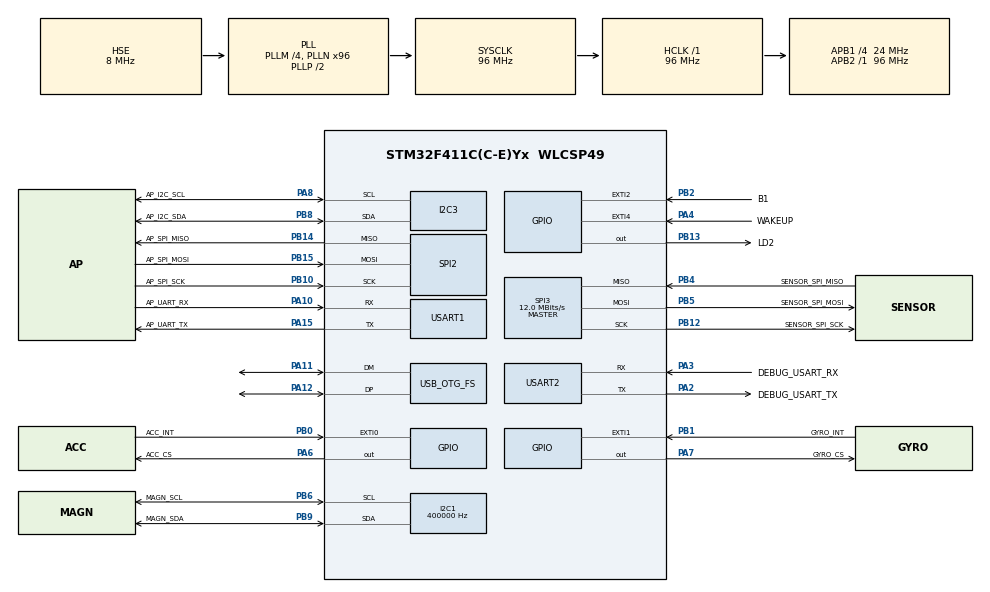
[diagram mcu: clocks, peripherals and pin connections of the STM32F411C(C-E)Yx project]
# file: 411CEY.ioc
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I2C1.ClockSpeed=400000
I2C1.I2C_Mode=I2C_Fast
I2C3.I2C_Mode=I2C_Fast
Mcu.Family=STM32F4
Mcu.Name=STM32F411C(C-E)Yx
Mcu.Package=WLCSP49
NVIC.PriorityGroup=NVIC_PRIORITYGROUP_4
PA1.GPIO_Label=AP_INT
PA1.Signal=EVENTOUT
PA10.GPIO_Label=AP_UART_RX
PA10.Mode=Asynchronous
PA10.Signal=USART1_RX
PA11.Mode=Device_Only
PA11.Signal=USB_OTG_FS_DM
PA12.Mode=Device_Only
PA12.Signal=USB_OTG_FS_DP
PA13.Mode=Trace-Asynchronous_SW
PA13.Signal=SYS_JTMS-SWDIO
PA14.Mode=Trace-Asynchronous_SW
PA14.Signal=SYS_JTCK-SWCLK
PA15.GPIO_Label=AP_UART_TX
PA15.Mode=Asynchronous
PA15.Signal=USART1_TX
PA2.GPIO_Label=DEBUG_USART_TX
PA2.Mode=Asynchronous
PA2.Signal=USART2_TX
PA3.GPIO_Label=DEBUG_USART_RX
PA3.Mode=Asynchronous
PA3.Signal=USART2_RX
PA4.GPIO_Label=WAKEUP
PA4.Signal=GPXTI4
PA6.GPIO_Label=ACC_CS
PA6.Signal=GPIO_Output
PA7.GPIO_Label=GYRO_CS
PA7.Signal=GPIO_Output
PA8.GPIO_Label=AP_I2C_SCL
PA8.Mode=I2C
PA8.Signal=I2C3_SCL
PB0.GPIO_Label=ACC_INT
PB0.Signal=GPXTI0
PB1.GPIO_Label=GYRO_INT
PB1.Signal=GPXTI1
PB10.GPIO_Label=AP_SPI_SCK
PB10.Mode=Full_Duplex_Slave
PB10.Signal=SPI2_SCK
PB12.GPIO_Label=SENSOR_SPI_SCK
PB12.Mode=Full_Duplex_Master
PB12.Signal=SPI3_SCK
PB13.GPIO_Label=LD2
PB13.Signal=GPIO_Output
PB14.GPIO_Label=AP_SPI_MISO
PB14.Mode=Full_Duplex_Slave
PB14.Signal=SPI2_MISO
PB15.GPIO_Label=AP_SPI_MOSI
PB15.Mode=Full_Duplex_Slave
PB15.Signal=SPI2_MOSI
PB2.GPIO_Label=B1
PB2.Signal=GPXTI2
PB3.Mode=Trace-Asynchronous_SW
PB3.Signal=SYS_JTDO-SWO
PB4.GPIO_Label=SENSOR_SPI_MISO
PB4.Mode=Full_Duplex_Master
PB4.Signal=SPI3_MISO
PB5.GPIO_Label=SENSOR_SPI_MOSI
PB5.Mode=Full_Duplex_Master
PB5.Signal=SPI3_MOSI
PB6.GPIO_Label=MAGN_SCL
PB6.Mode=I2C
PB6.Signal=I2C1_SCL
PB8.GPIO_Label=AP_I2C_SDA
PB8.Mode=I2C
PB8.Signal=I2C3_SDA
PB9.GPIO_Label=MAGN_SDA
PB9.Mode=I2C
PB9.Signal=I2C1_SDA
PH0\ -\ OSC_IN.Mode=HSE-External-Oscillator
PH0\ -\ OSC_IN.Signal=RCC_OSC_IN
PH1\ -\ OSC_OUT.Mode=HSE-External-Oscillator
PH1\ -\ OSC_OUT.Signal=RCC_OSC_OUT
ProjectManager.HeapSize=0x10000
ProjectManager.StackSize=0x4000
ProjectManager.TargetToolchain=EWARM
RCC.48MHZClocksFreq_Value=48000000
RCC.AHBFreq_Value=96000000
RCC.APB1CLKDivider=RCC_HCLK_DIV4
RCC.APB1Freq_Value=24000000
RCC.APB1TimCLKDivider=1
RCC.APB1TimFreq_Value=24000000
RCC.APB2Freq_Value=96000000
RCC.APB2TimFreq_Value=96000000
RCC.CortexFreq_Value=96000000
RCC.HCLKFreq_Value=96000000
RCC.HSE_VALUE=8000000
RCC.HSI_VALUE=16000000
RCC.LSE_VALUE=1000000
RCC.PLLM=4
RCC.PLLN=96
RCC.SYSCLKFreq_VALUE=96000000
RCC.SYSCLKSource=RCC_SYSCLKSOURCE_PLLCLK
RCC.VCOOutputFreq_Value=192000000
SPI2.VirtualType=VM_SLAVE
SPI3.BaudRatePrescaler=SPI_BAUDRATEPRESCALER_2
SPI3.CalculateBaudRate=12.0 MBits/s
SPI3.Mode=SPI_MODE_MASTER
USB_OTG_FS.VirtualMode=Device_Only
board=411CEY

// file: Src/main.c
/**
 ******************************************************************************
 * File Name          : main.c
 * Description        : Main program body
 ******************************************************************************
 *
 * COPYRIGHT(c) 2016 STMicroelectronics
 *
 * Redistribution and use in source and binary forms, with or without modification,
 * are permitted provided that the following conditions are met:
 *   1. Redistributions of source code must retain the above copyright notice,
 *      this list of conditions and the following disclaimer.
 *   2. Redistributions in binary form must reproduce the above copyright notice,
 *      this list of conditions and the following disclaimer in the documentation
 *      and/or other materials provided with the distribution.
 *   3. Neither the name of STMicroelectronics nor the names of its contributors
 *      may be used to endorse or promote products derived from this software
 *      without specific prior written permission.
 *
 * THIS SOFTWARE IS PROVIDED BY THE COPYRIGHT HOLDERS AND CONTRIBUTORS "AS IS"
 * AND ANY EXPRESS OR IMPLIED WARRANTIES, INCLUDING, BUT NOT LIMITED TO, THE
 * IMPLIED WARRANTIES OF MERCHANTABILITY AND FITNESS FOR A PARTICULAR PURPOSE ARE
 * DISCLAIMED. IN NO EVENT SHALL THE COPYRIGHT HOLDER OR CONTRIBUTORS BE LIABLE
 * FOR ANY DIRECT, INDIRECT, INCIDENTAL, SPECIAL, EXEMPLARY, OR CONSEQUENTIAL
 * DAMAGES (INCLUDING, BUT NOT LIMITED TO, PROCUREMENT OF SUBSTITUTE GOODS OR
 * SERVICES; LOSS OF USE, DATA, OR PROFITS; OR BUSINESS INTERRUPTION) HOWEVER
 * CAUSED AND ON ANY THEORY OF LIABILITY, WHETHER IN CONTRACT, STRICT LIABILITY,
 * OR TORT (INCLUDING NEGLIGENCE OR OTHERWISE) ARISING IN ANY WAY OUT OF THE USE
 * OF THIS SOFTWARE, EVEN IF ADVISED OF THE POSSIBILITY OF SUCH DAMAGE.
 *
 ******************************************************************************
 */
#include <string.h> /* strlen */
#include <stdio.h>  /* sprintf */
#include <math.h>   /* trunc */
#include "main.h"

#include "stm32f4xx_hal.h"
#include "i2c.h"
#include "spi.h"
#include "usart.h"
#include "usb_otg.h"
#include "gpio.h"

/* USER CODE BEGIN PV */
/* Private variables ---------------------------------------------------------*/

bma2x2_t bmi055DevAcc;      // structure holding ic2/spi interface function pointers (acc part)
bmg160_t bmi055DevGyro;     // structure holding ic2/spi interface function pointers (gyro part)
static unsigned long current_ts = 0;
static unsigned long pre_tsa = 0;
static unsigned long pre_tsg = 0;
static unsigned long pre_tsm = 0;
static void fusion();
/* USER CODE END PV */

static pIvhAlgo Algo_Handle = NULL;
static pdsh_handle pDsh_handle = NULL;

//sensor data
static bma2x2_xyz_t accel;
static bmg160_xyz_t gyro;
static ak09911_xyz_t magn;
static int rot[9];
static short unsigned mag_odr;

ak09911_status ak_sta;
void SystemClock_Config(void);

void Bmi055_init(void);

/* USER CODE BEGIN PFP */
/* Private function prototypes -----------------------------------------------*/

/* USER CODE END PFP */

/* USER CODE BEGIN 0 */
static void HandleAlgoNotifation(ULONG SensorType, void* data)
{
	return;
}

static void fusion()
{
	current_ts = HAL_GetTick();
	if((current_ts - pre_tsa) > ONE_KHZ_TIME){
		bma2x2_read_accel_xyz(&accel);
		accel.x = accel.x*98/100;
		accel.y = accel.y*98/100;
		accel.z = accel.z*98/100;

		pDsh_handle->accel_raw.x = accel.x;
		pDsh_handle->accel_raw.y = accel.y;
		pDsh_handle->accel_raw.z = accel.z;
		pDsh_handle->accel_raw.ts = current_ts;

		Alg_UpdateAccelerometerData(Algo_Handle,
				accel.x,accel.y,accel.z,current_ts);
		Alg_GetAccelerometer(Algo_Handle,&pDsh_handle->accel);
		pre_tsa = current_ts;
	}

	if((current_ts - pre_tsg) > ONE_KHZ_TIME){
		bmg160_get_data_XYZ(&gyro);
		gyro.x *= 61;
		gyro.y *= 61;
		gyro.z *= 61;

		pDsh_handle->gyro_raw.x = gyro.x;
		pDsh_handle->gyro_raw.y = gyro.y;
		pDsh_handle->gyro_raw.z = gyro.z;
		pDsh_handle->gyro_raw.ts = current_ts;
		Alg_UpdateGyrometerData(Algo_Handle,
				gyro.x,gyro.y,gyro.z,current_ts);
		Alg_GetGyrometer(Algo_Handle,&pDsh_handle->gyro);
		Alg_GetOrientationMatrix(Algo_Handle, &pDsh_handle->rot);
		pre_tsg = current_ts;
	}

	if((current_ts - pre_tsm) > ONE_HUN_HZ_TIME){
		ak09911_read_data(&magn);

		pDsh_handle->magn_raw.x = magn.x;
		pDsh_handle->magn_raw.y = magn.y;
		pDsh_handle->magn_raw.z = magn.z;
		pDsh_handle->magn_raw.ts = current_ts;

		Alg_UpdateMagnetometerData(Algo_Handle,
				magn.x,magn.y,magn.z,current_ts);
		Alg_GetMagnetometer(Algo_Handle,&pDsh_handle->magn);

		pre_tsm = current_ts;
		//Alg_GetEuler(Algo_Handle, pDsh_handle->rot);
	}
	/*
	   if(++counts&&0x3ff == 0){
	   sprintf( dataOut, "[%5d,%5d,%5d], ts =%d \n",
	   pDsh_handle->rot[0],pDsh_handle->rot[1],pDsh_handle->rot[2], current_ts);
//sprintf( dataOut, "[%5d,%5d,%5d],[%5d,%5d,%5d],[%5d,%5d,%5d], ts =%
d \n", rot[0],rot[1],rot[2],rot[3],rot[4],rot[5],rot[6],rot[7],rot[8],ts);
HAL_UART_Transmit( &huart2, ( uint8_t * )dataOut, strlen( dataOut ),
5000 );
}
*/
}

void print_bytes(char* ptr, int len)
{

	int i = 0;
	for(i = 0; i<len; i++)
		printf("%02x ", ptr[i]);
	printf("\n\r");
}
/* USER CODE END 0 */

int main(void)
{

	/* USER CODE BEGIN 1 */
	HAL_StatusTypeDef read_status = HAL_OK;
	unsigned long sensor_input = IVH_PHYSICAL_SENSOR_ACCELEROMETER3D|IVH_PHYSICAL_SENSOR_GYROSCOPE3D|IVH_PHYSICAL_SENSOR_MAGNETOMETER3D;
	unsigned long sensor_output = 0;
	/* USER CODE END 1 */

	/* MCU Configuration----------------------------------------------------------*/

	/* Reset of all peripherals, Initializes the Flash interface and the Systick. */
	HAL_Init();

	/* Configure the system clock */
	SystemClock_Config();

	/* Initialize all configured peripherals */
	MX_GPIO_Init();
	MX_I2C1_Init();
	MX_I2C3_Init();
	MX_SPI2_Init();
	MX_SPI3_Init();
	MX_USART1_UART_Init();
	MX_USART2_UART_Init();
	MX_USB_OTG_FS_PCD_Init();

	/* USER CODE BEGIN 2 */
	debug("Begin Sensor Hub");
	Bmi055_init();

	ak09911_init();
	mag_odr = 10;
	ak09911_set_report_interval(&mag_odr);
	Algo_Handle = Alg_Init(HandleAlgoNotifation, sensor_input, &sensor_output);
	pDsh_handle = Dsh_init();
	/* USER CODE END 2 */

	/* Infinite loop */
	while (1)
	{

		/* USER CODE BEGIN 3 */
		//polling sensor data
		fusion();

		switch(pDsh_handle->status_){
		case STA_IDLE:
			//debug("STA_IDLE");
			read_status = HAL_SPI_Receive(&hspi2,(uint8_t *)&pDsh_handle->ia_buff,
					sizeof(struct ia_cmd),1);
			switch(read_status) {
			case HAL_OK:
				pDsh_handle->status_ = STA_PARSE_CMD;
				break;
			case HAL_TIMEOUT:
				pDsh_handle->status_ = STA_WAIT_CMD;
				break;
			default:
				pDsh_handle->status_ = STA_WAIT_CMD;
				break;
			}
			break;
		case STA_WAIT_CMD:
			//waiting for cmd except streaming mode
			if(pDsh_handle->streaming_mode == 1)
				pDsh_handle->status_ = STA_PREPARE_DATA;
			else
				pDsh_handle->status_ = STA_IDLE;
			break;
		case STA_PARSE_CMD:
			debug("parse_cmd");
			parse_ia_cmd(pDsh_handle);
			break;
		case STA_RESP_ACK:
			debug("resp_ack");
			resp_ack(pDsh_handle);
			break;
		case STA_PROCESS:
			debug("process");
			//two flow of next state
			process_cmd(pDsh_handle);
			break;
		case STA_PREPARE_DATA:
			debug("prepare_data");
			//if(wTXState == BUFF_EMPTY){
			prepare_data(pDsh_handle);
			pDsh_handle->status_ = STA_COMMIT_DATA;
			//	pDsh_handle->status_ = STA_COMMIT_DATA;
			//	wTXState = BUFF_FULL;
			//	}
			//else
			//	pDsh_handle->status_ = STA_IDLE;
			break;
		case STA_COMMIT_DATA:
			//HAL_Delay(500);
			debug("commit_data");
			transmit_data(pDsh_handle->resp_buff,pDsh_handle->resp_frame_length);
			pDsh_handle->status_ = STA_IDLE;
			break;
		}
		//HAL_Delay(500);

	}

	mag_odr = 0;
	ak09911_set_report_interval(&mag_odr); //power down
	/* USER CODE END 3 */

}

/** System Clock Configuration
*/
void SystemClock_Config(void)
{

	RCC_OscInitTypeDef RCC_OscInitStruct;
	RCC_ClkInitTypeDef RCC_ClkInitStruct;

	__HAL_RCC_PWR_CLK_ENABLE();

	__HAL_PWR_VOLTAGESCALING_CONFIG(PWR_REGULATOR_VOLTAGE_SCALE1);

	RCC_OscInitStruct.OscillatorType = RCC_OSCILLATORTYPE_HSE;
	RCC_OscInitStruct.HSEState = RCC_HSE_ON;
	RCC_OscInitStruct.PLL.PLLState = RCC_PLL_ON;
	RCC_OscInitStruct.PLL.PLLSource = RCC_PLLSOURCE_HSE;
	RCC_OscInitStruct.PLL.PLLM = 4;
	RCC_OscInitStruct.PLL.PLLN = 96;
	RCC_OscInitStruct.PLL.PLLP = RCC_PLLP_DIV2;
	RCC_OscInitStruct.PLL.PLLQ = 4;
	HAL_RCC_OscConfig(&RCC_OscInitStruct);

	RCC_ClkInitStruct.ClockType = RCC_CLOCKTYPE_HCLK|RCC_CLOCKTYPE_SYSCLK
		|RCC_CLOCKTYPE_PCLK1|RCC_CLOCKTYPE_PCLK2;
	RCC_ClkInitStruct.SYSCLKSource = RCC_SYSCLKSOURCE_PLLCLK;
	RCC_ClkInitStruct.AHBCLKDivider = RCC_SYSCLK_DIV1;
	RCC_ClkInitStruct.APB1CLKDivider = RCC_HCLK_DIV4;
	RCC_ClkInitStruct.APB2CLKDivider = RCC_HCLK_DIV1;
	HAL_RCC_ClockConfig(&RCC_ClkInitStruct, FLASH_LATENCY_3);

	HAL_SYSTICK_Config(HAL_RCC_GetHCLKFreq()/1000);

	HAL_SYSTICK_CLKSourceConfig(SYSTICK_CLKSOURCE_HCLK);

	/* SysTick_IRQn interrupt configuration */
	HAL_NVIC_SetPriority(SysTick_IRQn, 0, 0);
}

void Bmi055_init(void)
{
	/************************* Initialization section ******************************/
	bmi055DevAcc.bus_read = bstdr_burst_read;	// assign bus read function for bst devices
	bmi055DevAcc.bus_write = bstdr_burst_write;	// assign bus write function for bst devices
	bmi055DevAcc.delay = bstdr_ms_delay;	// assign delay function
	bmi055DevAcc.dev_addr = 0x1A;       // set acc dev addr as 0x1A for SPI chip select

	bmi055DevGyro.bus_read = bstdr_burst_read;	// assign bus read function for bst devices
	bmi055DevGyro.bus_write = bstdr_burst_write;	// assign bus write function for bst devices
	bmi055DevGyro.delay = bstdr_ms_delay;	// assign delay function
	bmi055DevGyro.dev_addr = 0x1B;      // set gyro dev addr as 0x1B for SPI chip select

	bma2x2_init(&bmi055DevAcc);     // initialize the device: acceleration sensor part
	bmg160_init(&bmi055DevGyro);    // initialize the device: gyro part

	/************************* Configuration section: accel ******************************/
	bma2x2_set_power_mode(BMA2x2_MODE_NORMAL);
	bma2x2_set_bw(BMA2x2_BW_500HZ);
	bma2x2_set_range(BMA2x2_RANGE_2G);

	bmi055DevAcc.delay(10);         // Wait for device to settle down with new config

	/************************* Configuration section: gyro ******************************/
	bmg160_set_power_mode(BMG160_MODE_NORMAL);
	bmi055DevGyro.delay(50);
	bmg160_set_bw(BMG160_BW_230_HZ);
	bmg160_set_range(BMG160_RANGE_2000);

	bmi055DevGyro.delay(50);        // Wait for device to settle down with new config
}

/************************ (C) COPYRIGHT STMicroelectronics *****END OF FILE****/
